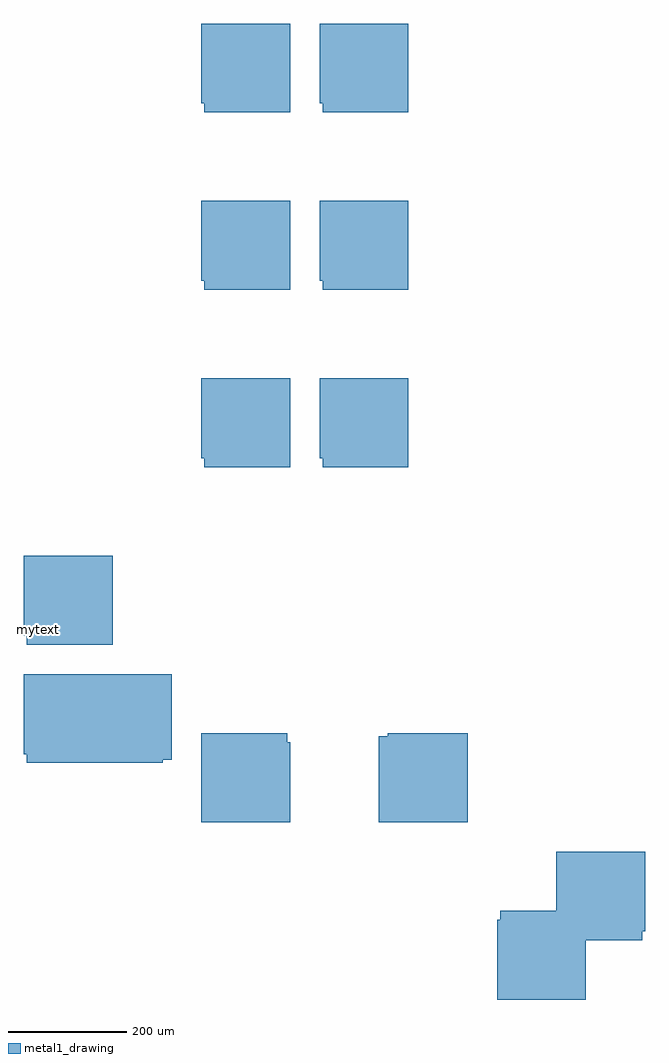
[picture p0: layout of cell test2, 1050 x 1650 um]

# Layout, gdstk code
from math import pi, radians
import gdstk
lib = gdstk.Library(unit=1e-6, precision=1e-09)
def R(c, l, rs):  # rectangles x0, y0, x1, y1
    for r in rs: c.add(gdstk.rectangle(r[:2], r[2:], *l))
metal1_drawing = (50, 0)

test = lib.new_cell('test')
R(test, metal1_drawing, [(0,0,100,100)])
test.add(gdstk.FlexPath([(0,0),(0,100),(100,100),(100,0),(0,0)], 50, ends=(10, 20), simple_path=True, layer=50, datatype=0))  # metal1_drawing

test2 = lib.new_cell('test2')
test2.add(gdstk.Reference(test, (0,0)))
r = gdstk.Reference(test, (300,300)); r.repetition = gdstk.Repetition(2, 3, v1=(200,0), v2=(0,300)); test2.add(r)
test2.add(gdstk.Reference(test, (0,-200)))
test2.add(gdstk.Reference(test, (200,-200), rotation=pi/2))
test2.add(gdstk.Reference(test, (400,-200), rotation=pi))
test2.add(gdstk.Reference(test, (600,-200), rotation=3*pi/2))
test2.add(gdstk.Reference(test, (800,-500), x_reflection=True))
test2.add(gdstk.Reference(test, (1000,-500), rotation=pi, x_reflection=True))
test2.add(gdstk.Label('mytext', (0,0), layer=45, texttype=0))

lib.write_gds('test2.gds')
